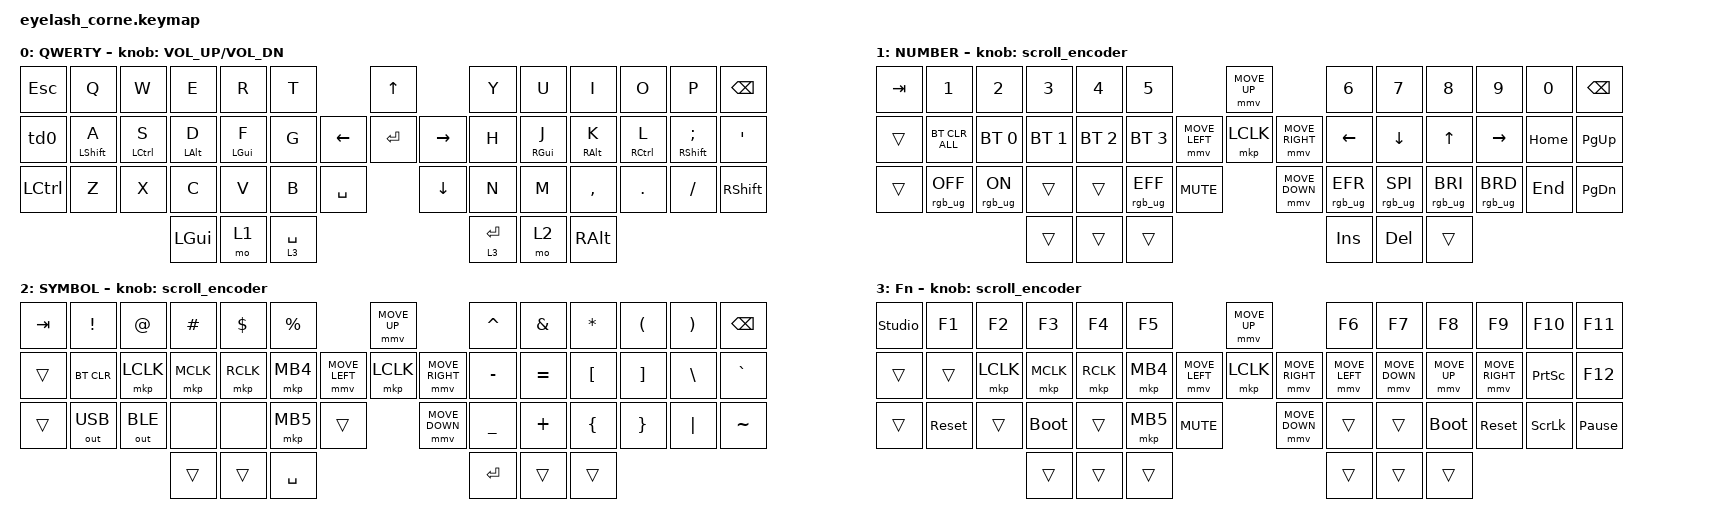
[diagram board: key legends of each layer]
#define ZMK_POINTING_DEFAULT_MOVE_VAL 1200  // 600
#define ZMK_POINTING_DEFAULT_SCRL_VAL 25   // 10

#include <input/processors.dtsi>
#include <zephyr/dt-bindings/input/input-event-codes.h>
#include <behaviors.dtsi>
#include <dt-bindings/zmk/bt.h>
#include <dt-bindings/zmk/keys.h>
#include <dt-bindings/zmk/outputs.h>
#include <dt-bindings/zmk/pointing.h>
#include <dt-bindings/zmk/rgb.h>

&mmv_input_listener { input-processors = <&zip_xy_scaler 2 1>; };

&msc_input_listener { input-processors = <&zip_scroll_scaler 2 1>; };

&msc {
    acceleration-exponent = <1>;      // 0
    time-to-max-speed-ms = <100>;       // 300
    delay-ms = <0>;                   // 0
};

&mmv {
    time-to-max-speed-ms = <500>;
    acceleration-exponent = <1>;
    trigger-period-ms = <16>;
};

&soft_off { hold-time-ms = <2000>; };

/* Key position groups for positional hold-tap (home row mods).
 * Physical layout of this board, positions as bound in the keymap:
 *  0-5   left top row      | 6 joy-up    |  7-12  right top row
 * 13-18  left home row     | 19-21 joy   | 22-27  right home row
 * 28-34  left bottom row   | 35 joy-down | 36-41  right bottom row
 * 42-44  left thumbs                     | 45-47  right thumbs
 */

#define KEYS_L 0 1 2 3 4 5 13 14 15 16 17 18 28 29 30 31 32 33 34
#define KEYS_R 7 8 9 10 11 12 22 23 24 25 26 27 36 37 38 39 40 41
#define THUMBS 42 43 44 45 46 47 6 19 20 21 35

/ {
    behaviors {
        hml: home_row_mod_left {
            compatible = "zmk,behavior-hold-tap";
            display-name = "HRM Left";
            #binding-cells = <2>;
            bindings = <&kp>, <&kp>;

            flavor = "balanced";
            tapping-term-ms = <280>;
            quick-tap-ms = <175>;
            require-prior-idle-ms = <150>;
            hold-trigger-key-positions = <KEYS_R THUMBS>;
            hold-trigger-on-release;
        };

        hmr: home_row_mod_right {
            compatible = "zmk,behavior-hold-tap";
            display-name = "HRM Right";
            #binding-cells = <2>;
            bindings = <&kp>, <&kp>;

            flavor = "balanced";
            tapping-term-ms = <280>;
            quick-tap-ms = <175>;
            require-prior-idle-ms = <150>;
            hold-trigger-key-positions = <KEYS_L THUMBS>;
            hold-trigger-on-release;
        };

        /* Shift variants (pinky keys A / SEMI). Same roll protection as
         * hml/hmr, but a shorter require-prior-idle window: Shift is the
         * one mod that gets used in the flow of typing (space -> Shift+letter
         * to start a capitalised word), and 150 ms was turning that into a
         * plain ";a" / "a" tap when the gap after the previous key was short.
         * Ctrl/Alt/GUI keep the longer window since they are used after a pause.
         */
        hsl: home_row_shift_left {
            compatible = "zmk,behavior-hold-tap";
            display-name = "HRM Shift L";
            #binding-cells = <2>;
            bindings = <&kp>, <&kp>;

            flavor = "balanced";
            tapping-term-ms = <280>;
            quick-tap-ms = <175>;
            require-prior-idle-ms = <100>;
            hold-trigger-key-positions = <KEYS_R THUMBS>;
            hold-trigger-on-release;
        };

        hsr: home_row_shift_right {
            compatible = "zmk,behavior-hold-tap";
            display-name = "HRM Shift R";
            #binding-cells = <2>;
            bindings = <&kp>, <&kp>;

            flavor = "balanced";
            tapping-term-ms = <280>;
            quick-tap-ms = <175>;
            require-prior-idle-ms = <100>;
            hold-trigger-key-positions = <KEYS_L THUMBS>;
            hold-trigger-on-release;
        };

        td0: td0 {
            compatible = "zmk,behavior-tap-dance";
            display-name = "Shift/Caps Lock Tap Dance";
            #binding-cells = <0>;
            bindings = <&kp LEFT_SHIFT>, <&kp CAPS>;
        };
    };

    rgb_encoder: rgb_encoder {
        compatible = "zmk,behavior-sensor-rotate";
        #sensor-binding-cells = <0>;
        bindings = <&rgb_ug RGB_BRI>, <&rgb_ug RGB_BRD>;
    };

    scroll_encoder: scroll_encoder {
        compatible = "zmk,behavior-sensor-rotate";
        #sensor-binding-cells = <0>;
        bindings = <&msc SCRL_DOWN>, <&msc SCRL_UP>;

        tap-ms = <100>;
    };

    combos {
        compatible = "zmk,combos";

        softoff {
            bindings = <&soft_off>;
            key-positions = <1 15 29>;
        };
    };

    keymap {
        compatible = "zmk,keymap";

        default_layer {
            display-name = "QWERTY";
            bindings = <
&kp ESC    &kp Q             &kp W        &kp E       &kp R       &kp T                               &kp UP                &kp Y        &kp U       &kp I            &kp O        &kp P            &kp BSPC
&td0       &hsl LEFT_SHIFT A  &hml LCTRL S  &hml LALT D  &hml LGUI F  &kp G                  &kp LEFT  &kp ENTER  &kp RIGHT  &kp H        &hmr RGUI J  &hmr RIGHT_ALT K  &hmr RCTRL L  &hsr RSHIFT SEMI  &kp SQT
&kp LCTRL  &kp Z             &kp X        &kp C       &kp V       &kp B        &kp SPACE              &kp DOWN              &kp N        &kp M       &kp COMMA        &kp DOT      &kp FSLH         &kp RIGHT_SHIFT
                                          &kp LGUI    &mo 1       &lt 3 SPACE                                               &lt 3 ENTER  &mo 2       &kp RALT
            >;

            sensor-bindings = <&inc_dec_kp C_VOLUME_UP C_VOL_DN>;
        };

        lower_layer {
            display-name = "NUMBER";
            bindings = <
&kp TAB  &kp N1           &kp N2          &kp N3        &kp N4        &kp N5                                         &mmv MOVE_UP                     &kp N6           &kp N7           &kp N8           &kp N9           &kp N0    &kp BSPC
&trans   &bt BT_CLR_ALL   &bt BT_SEL 0    &bt BT_SEL 1  &bt BT_SEL 2  &bt BT_SEL 3                   &mmv MOVE_LEFT  &mkp LCLK       &mmv MOVE_RIGHT  &kp LEFT         &kp DOWN         &kp UP           &kp RIGHT        &kp HOME  &kp PG_UP
&trans   &rgb_ug RGB_OFF  &rgb_ug RGB_ON  &trans        &trans        &rgb_ug RGB_EFF  &kp C_MUTE                    &mmv MOVE_DOWN                   &rgb_ug RGB_EFR  &rgb_ug RGB_SPI  &rgb_ug RGB_BRI  &rgb_ug RGB_BRD  &kp END   &kp PG_DN
                                          &trans        &trans        &trans                                                                          &kp INS          &kp DEL          &trans
            >;

            sensor-bindings = <&scroll_encoder>;
        };

        raise_layer {
            display-name = "SYMBOL";
            bindings = <
&kp TAB  &kp EXCL      &kp AT        &kp HASH   &kp DLLR   &kp PRCNT                            &mmv MOVE_UP                     &kp CARET  &kp AMPS   &kp ASTRK  &kp LPAR  &kp RPAR  &kp BSPC
&trans   &bt BT_CLR    &mkp LCLK     &mkp MCLK  &mkp RCLK  &mkp MB4             &mmv MOVE_LEFT  &mkp LCLK       &mmv MOVE_RIGHT  &kp MINUS  &kp EQUAL  &kp LBKT   &kp RBKT  &kp BSLH  &kp GRAVE
&trans   &out OUT_USB  &out OUT_BLE  &none      &none      &mkp MB5   &trans                    &mmv MOVE_DOWN                   &kp UNDER  &kp PLUS   &kp LBRC   &kp RBRC  &kp PIPE  &kp TILDE
                                     &trans     &trans     &kp SPACE                                                             &kp RET    &trans     &trans
            >;

            sensor-bindings = <&scroll_encoder>;
        };

        layer_3 {
            display-name = "Fn";
            bindings = <
&studio_unlock  &kp F1      &kp F2     &kp F3       &kp F4     &kp F5                                  &mmv MOVE_UP                     &kp F6       &kp F7     &kp F8       &kp F9      &kp F10          &kp F11
&trans          &trans      &mkp LCLK  &mkp MCLK    &mkp RCLK  &mkp MB4                &mmv MOVE_LEFT  &mkp LCLK       &mmv MOVE_RIGHT  &mmv MOVE_LEFT  &mmv MOVE_DOWN  &mmv MOVE_UP  &mmv MOVE_RIGHT  &kp PRINTSCREEN  &kp F12
&trans          &sys_reset  &trans     &bootloader  &trans     &mkp MB5  &kp C_MUTE                    &mmv MOVE_DOWN                   &trans       &trans     &bootloader  &sys_reset  &kp SCROLLLOCK   &kp PAUSE_BREAK
                                       &trans       &trans     &trans                                                                   &trans       &trans     &trans
            >;

            sensor-bindings = <&scroll_encoder>;
        };
    };
};
